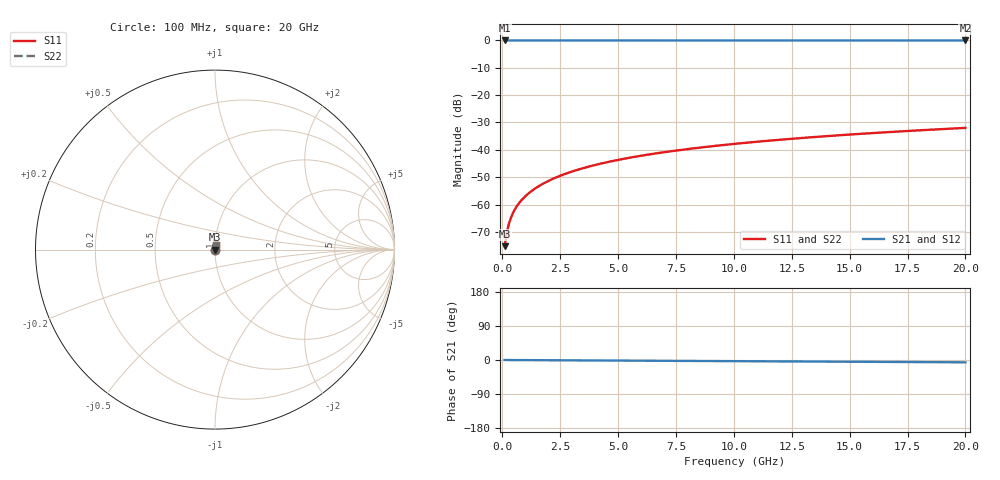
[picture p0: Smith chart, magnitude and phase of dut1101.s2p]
! Touchstone file exported from HFSS 2026.1.0
!  File:  C:/ffzhzh/LocalFiles/Ansys_Project_Files/temp_train_TSV_1101_1783190531_55132.aedt
!  Generated:  02:43:49 AM Jul  5, 2026
!  Design:  TSV
!  Project:  temp_train_TSV_1101_1783190531_55132
! Variables:
!  h_bsmrdl = 2um
!  h_ox = 20um
!  h_rdl = 5um
!  h_sub = 51.96um
!  h_tmrdl = 5um
!  h_tsv = 51.96um
!  h_via = 3um
!  l_bsmrdl = 300um
!  l_sub = 422.24um
!  l_tmrdl = 200um
!  m_sub = 200um
!  pitch = 57.5um
!  r_tsv = 11.12um
!  s_tmrdl = 10um
!  w_bsmrdl = 18um
!  w_sub = 500um
!  w_tmrdl = 12um
!  x_tsv_center1 = 206um
!  x_tsv_center2 = 524um
!  x_tsv_center3 = 736um
!  x_tsv_center4 = 1054um
!  x_tsv_center5 = 1266um
!  x_tsv_center6 = 1584um
# GHz S MA R 50.000000
! Terminal data exported
! Port[1] = TSV1_1_T1
! Port[2] = TSV1_1_T2
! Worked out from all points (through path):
!   200 points, 100 MHz to 20 GHz, reference 50 ohm
!   highest |S21| = 0.00 dB at 100 MHz (marker M1); lowest = 0.0 dB at 20 GHz (marker M2)
!   lowest |S11| = -75.2 dB at 100 MHz (marker M3), VSWR 1.00, Z = 50 + j0.0154 ohm
!   |S11| at or under -10 dB: start of sweep to end of sweep
!   |S22| runs from -75.2 to -32.0 dB; largest |S21 - S12| = 1.2e-15
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0.1  0.0001732 62.9  0.9999 -0.0  0.9999 -0.0  0.0001732 62.9
! Gamma 0 0 0 0
! Port Impedance 50 0 50 0
0.2  0.0003186 74.2  0.9999 -0.1  0.9999 -0.1  0.0003186 74.2
0.3  0.0004663 77.7  0.9999 -0.1  0.9999 -0.1  0.0004663 77.7
0.4  0.0006115 79.3  0.9999 -0.1  0.9999 -0.1  0.0006115 79.3
0.5  0.0007535 80.1  0.9999 -0.2  0.9999 -0.2  0.0007535 80.1
0.6  0.0008921 80.6  0.9999 -0.2  0.9999 -0.2  0.0008921 80.6
0.7  0.001028 81.0  0.9998 -0.2  0.9998 -0.2  0.001028 81.0
0.9  0.001294 81.6  0.9998 -0.3  0.9998 -0.3  0.001294 81.6
1.1  0.001554 82.1  0.9998 -0.3  0.9998 -0.3  0.001554 82.1
1.3  0.001813 82.5  0.9998 -0.4  0.9998 -0.4  0.001813 82.5
1.6  0.002198 83.1  0.9998 -0.5  0.9998 -0.5  0.002198 83.1
1.9  0.002583 83.6  0.9997 -0.6  0.9997 -0.6  0.002583 83.6
2.6  0.003482 84.3  0.9997 -0.8  0.9997 -0.8  0.003482 84.3
3.5  0.004635 84.7  0.9996 -1.1  0.9996 -1.1  0.004635 84.7
4.2  0.005527 84.8  0.9996 -1.3  0.9996 -1.3  0.005527 84.8
5  0.006543 84.9  0.9996 -1.5  0.9996 -1.5  0.006543 84.9
6.8  0.008814 84.8  0.9995 -2.1  0.9995 -2.1  0.008814 84.8
8.3  0.01069 84.6  0.9994 -2.5  0.9994 -2.5  0.01069 84.6
10.1  0.01294 84.3  0.9993 -3.1  0.9993 -3.1  0.01294 84.3
13.4  0.01705 83.7  0.9992 -4.1  0.9992 -4.1  0.01705 83.7
16.7  0.02113 82.9  0.999 -5.1  0.999 -5.1  0.02113 82.9
20  0.02519 82.0  0.9989 -6.1  0.9989 -6.1  0.02519 82.0
